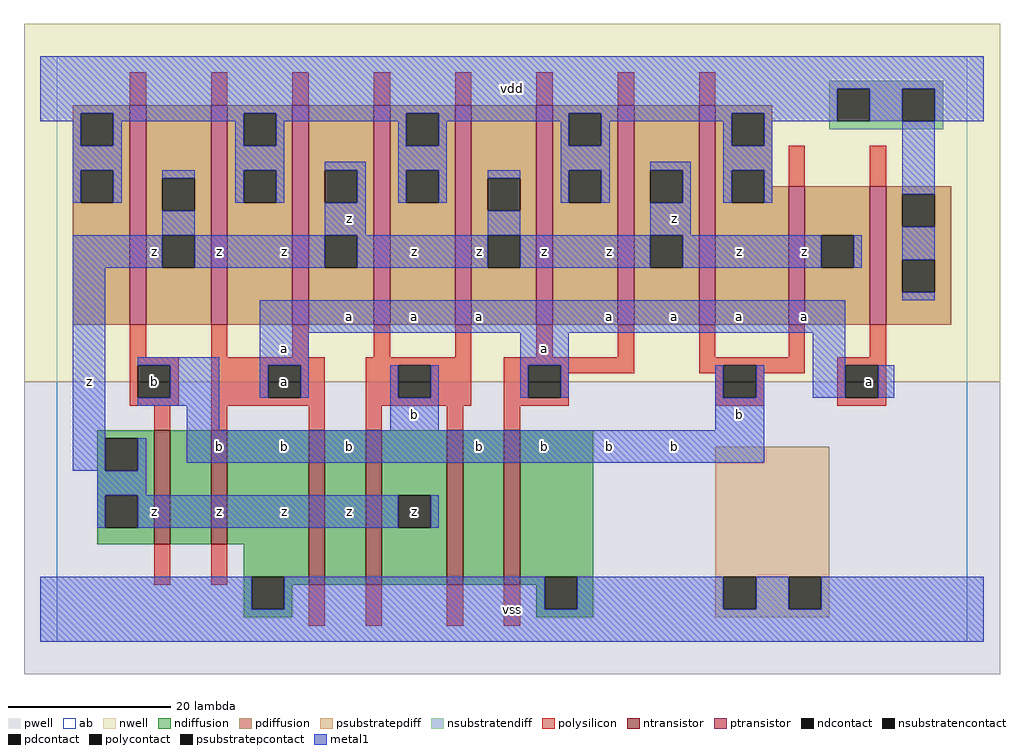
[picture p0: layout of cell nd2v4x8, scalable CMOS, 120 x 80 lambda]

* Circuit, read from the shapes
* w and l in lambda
.subckt nd2v4x8 a b vdd vss z
M1 n1 b z vss nfet w=14 l=2
M2 vss a n1 vss nfet w=14 l=2
M3 n2 a vss vss nfet w=19 l=2
M4 z b n2 vss nfet w=19 l=2
M5 n3 b z vss nfet w=19 l=2
M6 vss a n3 vss nfet w=19 l=2
M7 z b vdd vdd pfet w=27 l=2 m=4
M8 vdd a z vdd pfet w=27 l=2 m=4
M9 z b vdd vdd pfet w=17 l=2
M10 vdd a z vdd pfet w=17 l=2
.ends

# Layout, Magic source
magic
tech scmos
<< ab >>
rect 0 0 112 72
<< pwell >>
rect -4 -4 116 32
<< nwell >>
rect -4 32 116 76
<< polysilicon >>
rect 9 66 11 70
rect 19 66 21 70
rect 29 66 31 70
rect 39 66 41 70
rect 49 66 51 70
rect 59 66 61 70
rect 69 66 71 70
rect 79 66 81 70
rect 90 56 92 61
rect 100 56 102 61
rect 9 35 11 39
rect 19 35 21 39
rect 29 35 31 39
rect 39 35 41 39
rect 49 35 51 39
rect 59 35 61 39
rect 69 35 71 39
rect 9 34 15 35
rect 9 30 10 34
rect 14 30 15 34
rect 9 29 15 30
rect 19 34 33 35
rect 19 30 26 34
rect 30 30 33 34
rect 19 29 33 30
rect 12 26 14 29
rect 19 26 21 29
rect 31 26 33 29
rect 38 34 51 35
rect 38 30 42 34
rect 46 30 51 34
rect 38 29 51 30
rect 55 34 71 35
rect 55 30 58 34
rect 62 33 71 34
rect 79 35 81 39
rect 90 35 92 39
rect 100 35 102 39
rect 79 34 92 35
rect 79 33 82 34
rect 62 30 63 33
rect 55 29 63 30
rect 81 30 82 33
rect 86 33 92 34
rect 96 34 102 35
rect 86 30 87 33
rect 81 29 87 30
rect 96 30 97 34
rect 101 30 102 34
rect 96 29 102 30
rect 38 26 40 29
rect 48 26 50 29
rect 55 26 57 29
rect 12 7 14 12
rect 19 7 21 12
rect 31 2 33 7
rect 38 2 40 7
rect 48 2 50 7
rect 55 2 57 7
<< ndiffusion >>
rect 5 25 12 26
rect 5 21 6 25
rect 10 21 12 25
rect 5 18 12 21
rect 5 14 6 18
rect 10 14 12 18
rect 5 12 12 14
rect 14 12 19 26
rect 21 12 31 26
rect 23 8 31 12
rect 23 4 24 8
rect 28 7 31 8
rect 33 7 38 26
rect 40 18 48 26
rect 40 14 42 18
rect 46 14 48 18
rect 40 7 48 14
rect 50 7 55 26
rect 57 8 66 26
rect 57 7 60 8
rect 28 4 29 7
rect 23 3 29 4
rect 59 4 60 7
rect 64 4 66 8
rect 59 3 66 4
<< pdiffusion >>
rect 2 65 9 66
rect 2 61 3 65
rect 7 61 9 65
rect 2 58 9 61
rect 2 54 3 58
rect 7 54 9 58
rect 2 39 9 54
rect 11 57 19 66
rect 11 53 13 57
rect 17 53 19 57
rect 11 50 19 53
rect 11 46 13 50
rect 17 46 19 50
rect 11 39 19 46
rect 21 65 29 66
rect 21 61 23 65
rect 27 61 29 65
rect 21 58 29 61
rect 21 54 23 58
rect 27 54 29 58
rect 21 39 29 54
rect 31 58 39 66
rect 31 54 33 58
rect 37 54 39 58
rect 31 50 39 54
rect 31 46 33 50
rect 37 46 39 50
rect 31 39 39 46
rect 41 65 49 66
rect 41 61 43 65
rect 47 61 49 65
rect 41 58 49 61
rect 41 54 43 58
rect 47 54 49 58
rect 41 39 49 54
rect 51 57 59 66
rect 51 53 53 57
rect 57 53 59 57
rect 51 50 59 53
rect 51 46 53 50
rect 57 46 59 50
rect 51 39 59 46
rect 61 65 69 66
rect 61 61 63 65
rect 67 61 69 65
rect 61 58 69 61
rect 61 54 63 58
rect 67 54 69 58
rect 61 39 69 54
rect 71 58 79 66
rect 71 54 73 58
rect 77 54 79 58
rect 71 50 79 54
rect 71 46 73 50
rect 77 46 79 50
rect 71 39 79 46
rect 81 65 88 66
rect 81 61 83 65
rect 87 61 88 65
rect 81 58 88 61
rect 81 54 83 58
rect 87 56 88 58
rect 87 54 90 56
rect 81 39 90 54
rect 92 50 100 56
rect 92 46 94 50
rect 98 46 100 50
rect 92 39 100 46
rect 102 55 110 56
rect 102 51 104 55
rect 108 51 110 55
rect 102 47 110 51
rect 102 43 104 47
rect 108 43 110 47
rect 102 39 110 43
<< metal1 >>
rect -2 68 114 72
rect -2 65 96 68
rect -2 64 3 65
rect 2 61 3 64
rect 7 64 23 65
rect 7 61 8 64
rect 2 58 8 61
rect 22 61 23 64
rect 27 64 43 65
rect 27 61 28 64
rect 22 58 28 61
rect 42 61 43 64
rect 47 64 63 65
rect 47 61 48 64
rect 2 54 3 58
rect 7 54 8 58
rect 13 57 17 58
rect 22 54 23 58
rect 27 54 28 58
rect 33 58 38 59
rect 37 54 38 58
rect 42 58 48 61
rect 62 61 63 64
rect 67 64 83 65
rect 67 61 68 64
rect 62 58 68 61
rect 82 61 83 64
rect 87 64 96 65
rect 100 64 104 68
rect 108 64 114 68
rect 87 61 88 64
rect 42 54 43 58
rect 47 54 48 58
rect 53 57 57 58
rect 13 50 17 53
rect 33 50 38 54
rect 62 54 63 58
rect 67 54 68 58
rect 73 58 78 59
rect 77 54 78 58
rect 82 58 88 61
rect 82 54 83 58
rect 87 54 88 58
rect 104 55 108 64
rect 53 50 57 53
rect 73 50 78 54
rect 2 46 13 50
rect 17 46 33 50
rect 37 46 53 50
rect 57 46 73 50
rect 77 46 94 50
rect 98 46 99 50
rect 104 47 108 51
rect 2 21 6 46
rect 104 42 108 43
rect 25 38 97 42
rect 10 34 20 35
rect 14 30 20 34
rect 25 34 31 38
rect 57 34 63 38
rect 25 30 26 34
rect 30 30 31 34
rect 41 30 42 34
rect 46 30 47 34
rect 57 30 58 34
rect 62 30 63 34
rect 81 30 82 34
rect 86 30 87 34
rect 93 30 97 38
rect 101 30 103 34
rect 10 29 20 30
rect 16 26 20 29
rect 41 26 47 30
rect 81 26 87 30
rect 10 21 11 25
rect 16 22 87 26
rect 5 18 11 21
rect 5 14 6 18
rect 10 14 42 18
rect 46 14 47 18
rect -2 4 24 8
rect 28 4 60 8
rect 64 4 82 8
rect 86 4 90 8
rect 94 4 114 8
rect -2 0 114 4
<< ntransistor >>
rect 12 12 14 26
rect 19 12 21 26
rect 31 7 33 26
rect 38 7 40 26
rect 48 7 50 26
rect 55 7 57 26
<< ptransistor >>
rect 9 39 11 66
rect 19 39 21 66
rect 29 39 31 66
rect 39 39 41 66
rect 49 39 51 66
rect 59 39 61 66
rect 69 39 71 66
rect 79 39 81 66
rect 90 39 92 56
rect 100 39 102 56
<< polycontact >>
rect 10 30 14 34
rect 26 30 30 34
rect 42 30 46 34
rect 58 30 62 34
rect 82 30 86 34
rect 97 30 101 34
<< ndcontact >>
rect 6 21 10 25
rect 6 14 10 18
rect 24 4 28 8
rect 42 14 46 18
rect 60 4 64 8
<< pdcontact >>
rect 3 61 7 65
rect 3 54 7 58
rect 13 53 17 57
rect 13 46 17 50
rect 23 61 27 65
rect 23 54 27 58
rect 33 54 37 58
rect 33 46 37 50
rect 43 61 47 65
rect 43 54 47 58
rect 53 53 57 57
rect 53 46 57 50
rect 63 61 67 65
rect 63 54 67 58
rect 73 54 77 58
rect 73 46 77 50
rect 83 61 87 65
rect 83 54 87 58
rect 94 46 98 50
rect 104 51 108 55
rect 104 43 108 47
<< psubstratepcontact >>
rect 82 4 86 8
rect 90 4 94 8
<< nsubstratencontact >>
rect 96 64 100 68
rect 104 64 108 68
<< psubstratepdiff >>
rect 81 8 95 24
rect 81 4 82 8
rect 86 4 90 8
rect 94 4 95 8
rect 81 3 95 4
<< nsubstratendiff >>
rect 95 68 109 69
rect 95 64 96 68
rect 100 64 104 68
rect 108 64 109 68
rect 95 63 109 64
<< labels >>
rlabel metal1 12 16 12 16 6 z
rlabel polycontact 12 32 12 32 6 b
rlabel metal1 4 32 4 32 6 z
rlabel metal1 12 48 12 48 6 z
rlabel metal1 28 16 28 16 6 z
rlabel metal1 36 16 36 16 6 z
rlabel metal1 20 16 20 16 6 z
rlabel metal1 20 24 20 24 6 b
rlabel metal1 28 24 28 24 6 b
rlabel metal1 36 24 36 24 6 b
rlabel polycontact 28 32 28 32 6 a
rlabel metal1 36 40 36 40 6 a
rlabel metal1 28 36 28 36 6 a
rlabel metal1 20 48 20 48 6 z
rlabel metal1 36 52 36 52 6 z
rlabel metal1 28 48 28 48 6 z
rlabel metal1 56 4 56 4 6 vss
rlabel ndcontact 44 16 44 16 6 z
rlabel metal1 52 24 52 24 6 b
rlabel metal1 60 24 60 24 6 b
rlabel metal1 44 28 44 28 6 b
rlabel metal1 44 40 44 40 6 a
rlabel metal1 52 40 52 40 6 a
rlabel metal1 60 36 60 36 6 a
rlabel metal1 44 48 44 48 6 z
rlabel metal1 52 48 52 48 6 z
rlabel metal1 60 48 60 48 6 z
rlabel metal1 56 68 56 68 6 vdd
rlabel metal1 68 24 68 24 6 b
rlabel metal1 76 24 76 24 6 b
rlabel metal1 84 28 84 28 6 b
rlabel metal1 68 40 68 40 6 a
rlabel metal1 76 40 76 40 6 a
rlabel metal1 84 40 84 40 6 a
rlabel metal1 68 48 68 48 6 z
rlabel metal1 76 52 76 52 6 z
rlabel metal1 84 48 84 48 6 z
rlabel polycontact 100 32 100 32 6 a
rlabel metal1 92 40 92 40 6 a
rlabel metal1 92 48 92 48 6 z
<< end >>
